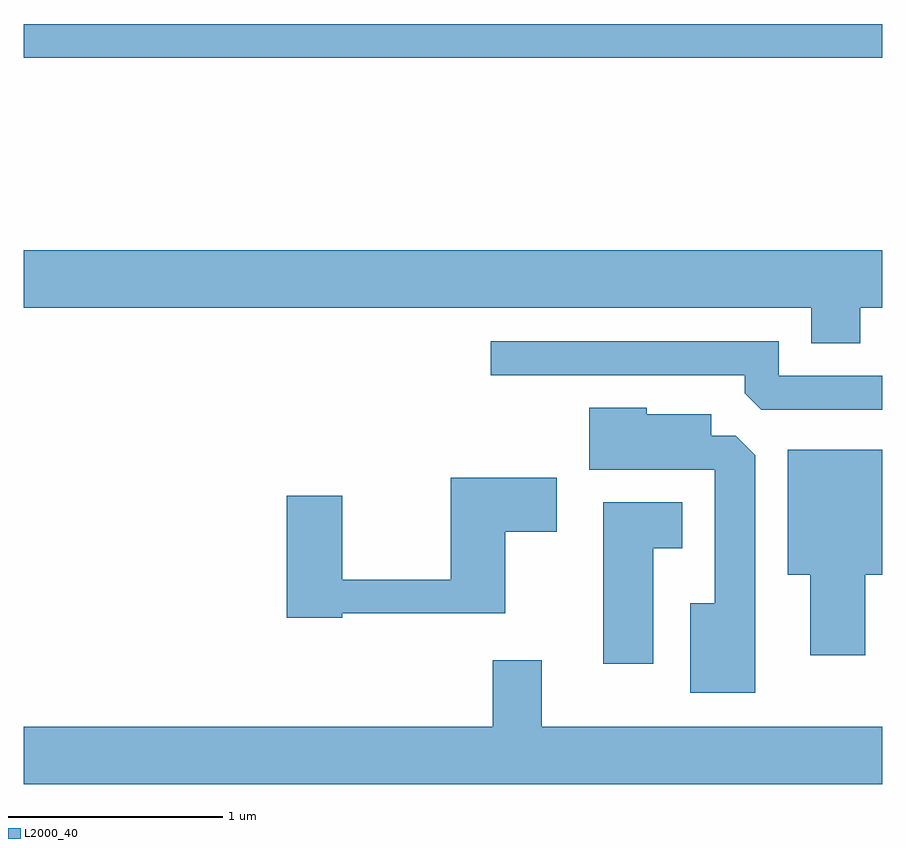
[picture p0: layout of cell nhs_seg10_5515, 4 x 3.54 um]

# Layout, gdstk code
import gdstk
lib = gdstk.Library(unit=1e-6, precision=1e-09)
def R(c, l, rs):  # rectangles x0, y0, x1, y1
    for r in rs: c.add(gdstk.rectangle(r[:2], r[2:], *l))
def P(c, l, *ps):  # polygons
    for p in ps: c.add(gdstk.Polygon(p, *l))
L2000_40 = (2000, 40)

nhs_seg10_5515 = lib.new_cell('nhs_seg10_5515')
R(nhs_seg10_5515, L2000_40, [(347.611,2143.941,351.611,2144.099)])
P(nhs_seg10_5515, L2000_40, [(351.509,2142.776),(351.611,2142.776),(351.611,2143.044),(347.611,2143.044),(347.611,2142.776),(351.281,2142.776),(351.281,2142.611),(351.509,2142.611)],
  [(351.611,2142.459),(351.129,2142.459),(351.129,2142.619),(349.788,2142.619),(349.788,2142.461),(350.971,2142.461),(350.971,2142.377),(351.047,2142.301),(351.611,2142.301)],
  [(351.019,2142.089),(350.929,2142.179),(350.814,2142.179),(350.814,2142.279),(350.514,2142.279),(350.514,2142.309),(350.246,2142.309),(350.246,2142.021),(350.831,2142.021),(350.831,2141.399),(350.716,2141.399),(350.716,2140.981),(351.019,2140.981)],
  [(351.534,2141.531),(351.611,2141.531),(351.611,2142.114),(351.171,2142.114),(351.171,2141.531),(351.276,2141.531),(351.276,2141.156),(351.534,2141.156)],
  [(349.094,2141.351),(349.854,2141.351),(349.854,2141.731),(350.094,2141.731),(350.094,2141.984),(349.601,2141.984),(349.601,2141.509),(349.094,2141.509),(349.094,2141.899),(348.836,2141.899),(348.836,2141.331),(349.094,2141.331)],
  [(350.544,2141.656),(350.679,2141.656),(350.679,2141.869),(350.311,2141.869),(350.311,2141.116),(350.544,2141.116)],
  [(351.611,2140.824),(350.024,2140.824),(350.024,2141.134),(349.796,2141.134),(349.796,2140.824),(347.611,2140.824),(347.611,2140.556),(351.611,2140.556)])

lib.write_gds('nhs_seg10_5515.gds')
